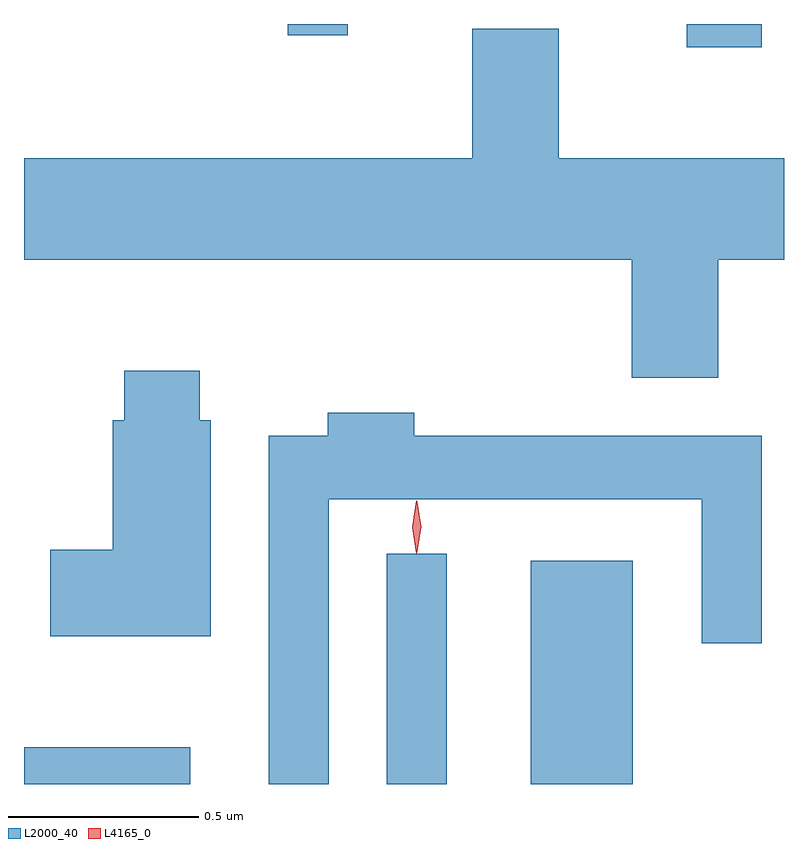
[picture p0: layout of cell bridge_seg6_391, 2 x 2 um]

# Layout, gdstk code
import gdstk
lib = gdstk.Library(unit=1e-6, precision=1e-09)
def R(c, l, rs):  # rectangles x0, y0, x1, y1
    for r in rs: c.add(gdstk.rectangle(r[:2], r[2:], *l))
def P(c, l, *ps):  # polygons
    for p in ps: c.add(gdstk.Polygon(p, *l))
L2000_40 = (2000, 40)
L4165_0 = (4165, 0)

bridge_seg6_391 = lib.new_cell('bridge_seg6_391')
R(bridge_seg6_391, L2000_40, [(1329.472,1541.997,1329.909,1542.094), (1330.426,1541.997,1330.584,1542.603), (1330.806,1541.997,1331.074,1542.584), (1331.216,1543.936,1331.414,1543.997), (1330.166,1543.968,1330.324,1543.997)])
P(bridge_seg6_391, L2000_40, [(1331.299,1543.376),(1331.472,1543.376),(1331.472,1543.644),(1330.879,1543.644),(1330.879,1543.984),(1330.651,1543.984),(1330.651,1543.644),(1329.472,1543.644),(1329.472,1543.376),(1331.071,1543.376),(1331.071,1543.066),(1331.299,1543.066)],
  [(1329.964,1542.954),(1329.934,1542.954),(1329.934,1543.084),(1329.736,1543.084),(1329.736,1542.954),(1329.706,1542.954),(1329.706,1542.614),(1329.541,1542.614),(1329.541,1542.386),(1329.964,1542.386)],
  [(1330.274,1542.746),(1331.256,1542.746),(1331.256,1542.368),(1331.414,1542.368),(1331.414,1542.914),(1330.499,1542.914),(1330.499,1542.974),(1330.271,1542.974),(1330.271,1542.914),(1330.116,1542.914),(1330.116,1541.997),(1330.274,1541.997)])
P(bridge_seg6_391, L4165_0, [(1330.507,1542.607),(1330.506,1542.608),(1330.497,1542.674),(1330.506,1542.74),(1330.507,1542.741),(1330.507,1542.74),(1330.517,1542.674),(1330.507,1542.608)],
  [(1330.504,1542.604),(1330.504,1542.604),(1330.494,1542.673),(1330.504,1542.742),(1330.504,1542.743),(1330.505,1542.742),(1330.514,1542.673),(1330.505,1542.604)])

lib.write_gds('bridge_seg6_391.gds')
